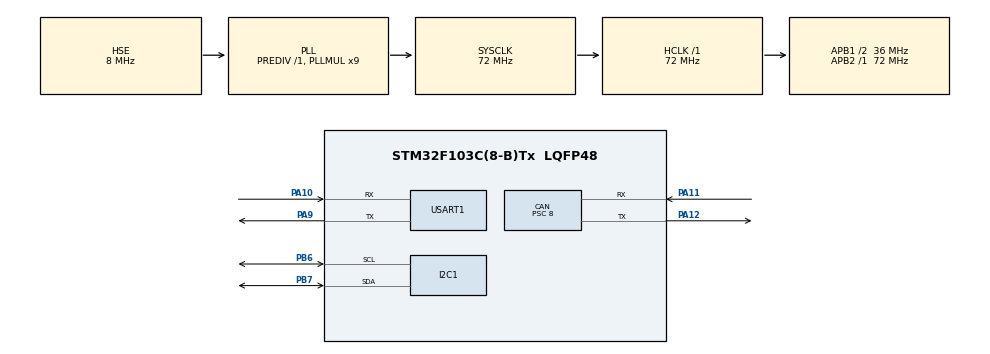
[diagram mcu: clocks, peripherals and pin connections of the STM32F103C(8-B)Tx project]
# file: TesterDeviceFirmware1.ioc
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CAN.BS1=CAN_BS1_15TQ
CAN.BS2=CAN_BS2_2TQ
CAN.CalculateBaudRate=250000
CAN.CalculateTimeBit=4000
CAN.CalculateTimeQuantum=222.22222222222223
CAN.Prescaler=8
Mcu.Family=STM32F1
Mcu.Name=STM32F103C(8-B)Tx
Mcu.Package=LQFP48
NVIC.PriorityGroup=NVIC_PRIORITYGROUP_4
NVIC.USB_HP_CAN1_TX_IRQn=true\:0\:0\:false\:false\:true\:true\:true\:true
NVIC.USB_LP_CAN1_RX0_IRQn=true\:0\:0\:false\:false\:true\:true\:true\:true
PA10.Mode=Asynchronous
PA10.Signal=USART1_RX
PA11.Mode=CAN_Activate
PA11.Signal=CAN_RX
PA12.Mode=CAN_Activate
PA12.Signal=CAN_TX
PA13.Mode=Serial_Wire
PA13.Signal=SYS_JTMS-SWDIO
PA14.Mode=Serial_Wire
PA14.Signal=SYS_JTCK-SWCLK
PA9.Mode=Asynchronous
PA9.Signal=USART1_TX
PB6.Mode=I2C
PB6.Signal=I2C1_SCL
PB7.Mode=I2C
PB7.Signal=I2C1_SDA
PD0-OSC_IN.Mode=HSE-External-Oscillator
PD0-OSC_IN.Signal=RCC_OSC_IN
PD1-OSC_OUT.Mode=HSE-External-Oscillator
PD1-OSC_OUT.Signal=RCC_OSC_OUT
ProjectManager.HeapSize=0x200
ProjectManager.StackSize=0x400
ProjectManager.TargetToolchain=STM32CubeIDE
RCC.AHBFreq_Value=72000000
RCC.APB1CLKDivider=RCC_HCLK_DIV2
RCC.APB1Freq_Value=36000000
RCC.APB1TimFreq_Value=72000000
RCC.APB2Freq_Value=72000000
RCC.APB2TimFreq_Value=72000000
RCC.HCLKFreq_Value=72000000
RCC.PLLMUL=RCC_PLL_MUL9
RCC.PLLSourceVirtual=RCC_PLLSOURCE_HSE
RCC.SYSCLKFreq_VALUE=72000000
RCC.SYSCLKSource=RCC_SYSCLKSOURCE_PLLCLK
RCC.USBFreq_Value=72000000
USART1.VirtualMode=VM_ASYNC
board=custom

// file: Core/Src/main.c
/* USER CODE BEGIN Header */
/**
  ******************************************************************************
  * @file           : main.c
  * @brief          : Main program body
  ******************************************************************************
  * @attention
  *
  * Copyright (c) 2023 STMicroelectronics.
  * All rights reserved.
  *
  * This software is licensed under terms that can be found in the LICENSE file
  * in the root directory of this software component.
  * If no LICENSE file comes with this software, it is provided AS-IS.
  *
  ******************************************************************************
  */
/* USER CODE END Header */
#include "main.h"

 CAN_HandleTypeDef hcan;

I2C_HandleTypeDef hi2c1;

UART_HandleTypeDef huart1;

/* USER CODE BEGIN PV */

	float data=0;  // ADC VARIABLES
	int  AdcValues[12]= {0};
	uint8_t receivedData;
	char buffer[5];
	int value;
	uint8_t bytesToSend[4]; // int, 4 byte'tır

	uint8_t req_counter = 0;  // CAN VARIABLES
	CAN_RxHeaderTypeDef RxHeader;
	int CANOK = 0;
	int counter = 0;

/* USER CODE END PV */

void SystemClock_Config(void);
static void MX_GPIO_Init(void);
static void MX_CAN_Init(void);
static void MX_I2C1_Init(void);
static void MX_USART1_UART_Init(void);
/* USER CODE BEGIN PFP */

void Read_ADS1115(int VoltageArray[], int length);
void CAN1_Tx();
void CAN1_Rx(void);
void CAN_Filter_Config(void);

/* USER CODE END PFP */

int main(void)
{

  /* MCU Configuration--------------------------------------------------------*/

  /* Reset of all peripherals, Initializes the Flash interface and the Systick. */
  HAL_Init();

  /* Configure the system clock */
  SystemClock_Config();

  /* Initialize all configured peripherals */
  MX_GPIO_Init();
  MX_CAN_Init();
  MX_I2C1_Init();
  MX_USART1_UART_Init();

  /* Infinite loop */
  while (1)
  {

    /* USER CODE BEGIN 3 */
	  HAL_UART_Receive(&huart1, &receivedData, 1, HAL_MAX_DELAY);

	     if (receivedData == 'A')
	     {
	     	Read_ADS1115(AdcValues,12);
	     	 for (int i = 0; i < 12; i++)
	     	    {
	     	        value = AdcValues[i];

	     	        // Int değeri byte dizisine dönüştür
	     	        bytesToSend[0] = (value >> 24) & 0xFF;
	     	        bytesToSend[1] = (value >> 16) & 0xFF;
	     	        bytesToSend[2] = (value >> 8) & 0xFF;
	     	        bytesToSend[3] = value & 0xFF;

	     	        // Byte dizisini UART üzerinden gönder
	     	        HAL_UART_Transmit(&huart1, bytesToSend, sizeof(bytesToSend), HAL_MAX_DELAY);
	     	    }
	     }
	     else  if (receivedData == 'C')
	     {
	    	 CAN_Filter_Config();

	    	   	if(HAL_CAN_ActivateNotification(&hcan,CAN_IT_TX_MAILBOX_EMPTY|CAN_IT_RX_FIFO0_MSG_PENDING|CAN_IT_BUSOFF)!= HAL_OK)
	    	   	{
	    	   			Error_Handler();
	    	   	}

	    	   	if( HAL_CAN_Start(&hcan) != HAL_OK)
	    	   	{
	    	   		Error_Handler();
	    	   	}

		 		HAL_UART_Transmit(&huart1, (uint8_t *)"CAN TEST OK\r\n", 13, HAL_MAX_DELAY);

	    	   	while(CANOK == 0 && counter<50)
	    	   	{
	    	   		CAN1_Tx();
	    	   		HAL_Delay(1000);
	    	   		counter++;
	    	   	}

	     }
	     else if(receivedData == 'B')
	     {
	 		HAL_UART_Transmit(&huart1, (uint8_t *)"CIHAZ BEKLEME MODUNDADIR\r\n", 26, HAL_MAX_DELAY);

	     }

	    }
  }
  /* USER CODE END 3 */

void SystemClock_Config(void)
{
  RCC_OscInitTypeDef RCC_OscInitStruct = {0};
  RCC_ClkInitTypeDef RCC_ClkInitStruct = {0};

  /** Initializes the RCC Oscillators according to the specified parameters
  * in the RCC_OscInitTypeDef structure.
  */
  RCC_OscInitStruct.OscillatorType = RCC_OSCILLATORTYPE_HSE;
  RCC_OscInitStruct.HSEState = RCC_HSE_ON;
  RCC_OscInitStruct.HSEPredivValue = RCC_HSE_PREDIV_DIV1;
  RCC_OscInitStruct.HSIState = RCC_HSI_ON;
  RCC_OscInitStruct.PLL.PLLState = RCC_PLL_ON;
  RCC_OscInitStruct.PLL.PLLSource = RCC_PLLSOURCE_HSE;
  RCC_OscInitStruct.PLL.PLLMUL = RCC_PLL_MUL9;
  if (HAL_RCC_OscConfig(&RCC_OscInitStruct) != HAL_OK)
  {
    Error_Handler();
  }

  /** Initializes the CPU, AHB and APB buses clocks
  */
  RCC_ClkInitStruct.ClockType = RCC_CLOCKTYPE_HCLK|RCC_CLOCKTYPE_SYSCLK
                              |RCC_CLOCKTYPE_PCLK1|RCC_CLOCKTYPE_PCLK2;
  RCC_ClkInitStruct.SYSCLKSource = RCC_SYSCLKSOURCE_PLLCLK;
  RCC_ClkInitStruct.AHBCLKDivider = RCC_SYSCLK_DIV1;
  RCC_ClkInitStruct.APB1CLKDivider = RCC_HCLK_DIV2;
  RCC_ClkInitStruct.APB2CLKDivider = RCC_HCLK_DIV1;

  if (HAL_RCC_ClockConfig(&RCC_ClkInitStruct, FLASH_LATENCY_2) != HAL_OK)
  {
    Error_Handler();
  }
}

static void MX_CAN_Init(void)
{

  hcan.Instance = CAN1;
  hcan.Init.Prescaler = 8;
  hcan.Init.Mode = CAN_MODE_NORMAL;
  hcan.Init.SyncJumpWidth = CAN_SJW_1TQ;
  hcan.Init.TimeSeg1 = CAN_BS1_15TQ;
  hcan.Init.TimeSeg2 = CAN_BS2_2TQ;
  hcan.Init.TimeTriggeredMode = DISABLE;
  hcan.Init.AutoBusOff = DISABLE;
  hcan.Init.AutoWakeUp = DISABLE;
  hcan.Init.AutoRetransmission = DISABLE;
  hcan.Init.ReceiveFifoLocked = DISABLE;
  hcan.Init.TransmitFifoPriority = DISABLE;
  if (HAL_CAN_Init(&hcan) != HAL_OK)
  {
    Error_Handler();
  }

}

static void MX_I2C1_Init(void)
{

  hi2c1.Instance = I2C1;
  hi2c1.Init.ClockSpeed = 100000;
  hi2c1.Init.DutyCycle = I2C_DUTYCYCLE_2;
  hi2c1.Init.OwnAddress1 = 0;
  hi2c1.Init.AddressingMode = I2C_ADDRESSINGMODE_7BIT;
  hi2c1.Init.DualAddressMode = I2C_DUALADDRESS_DISABLE;
  hi2c1.Init.OwnAddress2 = 0;
  hi2c1.Init.GeneralCallMode = I2C_GENERALCALL_DISABLE;
  hi2c1.Init.NoStretchMode = I2C_NOSTRETCH_DISABLE;
  if (HAL_I2C_Init(&hi2c1) != HAL_OK)
  {
    Error_Handler();
  }

}

static void MX_USART1_UART_Init(void)
{

  huart1.Instance = USART1;
  huart1.Init.BaudRate = 9600;
  huart1.Init.WordLength = UART_WORDLENGTH_8B;
  huart1.Init.StopBits = UART_STOPBITS_1;
  huart1.Init.Parity = UART_PARITY_NONE;
  huart1.Init.Mode = UART_MODE_TX_RX;
  huart1.Init.HwFlowCtl = UART_HWCONTROL_NONE;
  huart1.Init.OverSampling = UART_OVERSAMPLING_16;
  if (HAL_UART_Init(&huart1) != HAL_OK)
  {
    Error_Handler();
  }

}

static void MX_GPIO_Init(void)
{

  /* GPIO Ports Clock Enable */
  __HAL_RCC_GPIOD_CLK_ENABLE();
  __HAL_RCC_GPIOA_CLK_ENABLE();
  __HAL_RCC_GPIOB_CLK_ENABLE();

}

/* USER CODE BEGIN 4 */

void  Read_ADS1115(int VoltageArray[], int length)
{
	float voltage;
	int lastintValue;

    // channel 1 read
	unsigned char i2c_address= 0x90;
	buffer[0]=0x01; // address pointer register: 01 -> config register
	buffer[1]=0xC2;
	buffer[2]=0x85;

	HAL_I2C_Master_Transmit(&hi2c1,i2c_address+0,(uint8_t*)buffer,3,100);
	buffer[0]=0x00;
	HAL_Delay(10);
	HAL_I2C_Master_Transmit(&hi2c1,i2c_address+0,(uint8_t*)buffer,1,100);
	HAL_Delay(10);
	HAL_I2C_Master_Receive(&hi2c1,i2c_address+1, buffer,2,100);
	data = (buffer[0]<<8) + buffer[1];
	if(data==0xFFFF) {data=0;}
	voltage = data*0.000125;
	lastintValue = 1000*voltage;
	VoltageArray[0] = lastintValue;
	int size = sizeof(voltage);
	lastintValue = 0;
	HAL_Delay(20);

	 // channel 2 read

	i2c_address= 0x90;
	buffer[0]=0x01; // address pointer register: 01 -> config register
	buffer[1]=0xD2;
		buffer[2]=0x85;

	HAL_I2C_Master_Transmit(&hi2c1,i2c_address+0,(uint8_t*)buffer,3,100);
	buffer[0]=0x00;
	HAL_Delay(10);
	HAL_I2C_Master_Transmit(&hi2c1,i2c_address+0,(uint8_t*)buffer,1,100);
	HAL_Delay(10);
	HAL_I2C_Master_Receive(&hi2c1,i2c_address+1, buffer,2,100);
	data = (buffer[0]<<8) + buffer[1];
	if(data==0xFFFF) {data=0;}
	voltage = data*0.000125;
	lastintValue = 1000*voltage;
		VoltageArray[1] = lastintValue;
		lastintValue = 0;
		HAL_Delay(20);

		 // channel 3 read
	i2c_address= 0x90;
	buffer[0]=0x01; // address pointer register: 01 -> config register
	buffer[1]=0xE2;
	buffer[2]=0x85;

	HAL_I2C_Master_Transmit(&hi2c1,i2c_address+0,(uint8_t*)buffer,3,100);
	buffer[0]=0x00;
	HAL_Delay(10);
	HAL_I2C_Master_Transmit(&hi2c1,i2c_address+0,(uint8_t*)buffer,1,100);
	HAL_Delay(10);
	HAL_I2C_Master_Receive(&hi2c1,i2c_address+1, buffer,2,100);
	data = (buffer[0]<<8) + buffer[1];
	if(data==0xFFFF) {data=0;}
	voltage = data*0.000125;
	lastintValue = 1000*voltage;
		VoltageArray[2] = lastintValue;
		lastintValue = 0;
		HAL_Delay(20);

		 // channel 4 read
	i2c_address= 0x90;
	buffer[0]=0x01; // address pointer register: 01 -> config register
	buffer[1]=0xF2;
	buffer[2]=0x85;

	HAL_I2C_Master_Transmit(&hi2c1,i2c_address+0,(uint8_t*)buffer,3,100);
	buffer[0]=0x00;
	HAL_Delay(10);
	HAL_I2C_Master_Transmit(&hi2c1,i2c_address+0,(uint8_t*)buffer,1,100);
	HAL_Delay(10);
	HAL_I2C_Master_Receive(&hi2c1,i2c_address+1, buffer,2,100);
	data = (buffer[0]<<8) + buffer[1];
	if(data==0xFFFF) {data=0;}
	voltage = data*0.000125;
	lastintValue = 1000*voltage;
		VoltageArray[3] = lastintValue;
		lastintValue = 0;
		HAL_Delay(10);

		 // channel 5 read
	i2c_address= 0x92;
	buffer[0]=0x01; // address pointer register: 01 -> config register
	buffer[1]=0xC2;
	buffer[2]=0x85;

	HAL_I2C_Master_Transmit(&hi2c1,i2c_address+0,(uint8_t*)buffer,3,100);
	buffer[0]=0x00;
	HAL_Delay(10);
	HAL_I2C_Master_Transmit(&hi2c1,i2c_address+0,(uint8_t*)buffer,1,100);
	HAL_Delay(10);
	HAL_I2C_Master_Receive(&hi2c1,i2c_address+1, buffer,2,100);
	data = (buffer[0]<<8) + buffer[1];
	if(data==0xFFFF) {data=0;}
	voltage = data*0.000125;
	lastintValue = 1000*voltage;
		VoltageArray[4] = lastintValue;
		lastintValue = 0;
		HAL_Delay(20);

	 // channel 6 read
	i2c_address= 0x92;
	buffer[0]=0x01; // address pointer register: 01 -> config register
	buffer[1]=0xD2;
	buffer[2]=0x85;

	HAL_I2C_Master_Transmit(&hi2c1,i2c_address+0,(uint8_t*)buffer,3,100);
	buffer[0]=0x00;
	HAL_Delay(10);
	HAL_I2C_Master_Transmit(&hi2c1,i2c_address+0,(uint8_t*)buffer,1,100);
	HAL_Delay(10);
	HAL_I2C_Master_Receive(&hi2c1,i2c_address+1, buffer,2,100);
	data = (buffer[0]<<8) + buffer[1];
	if(data==0xFFFF) {data=0;}
	voltage = data*0.000125;
	lastintValue = 1000*voltage;
		VoltageArray[5] = lastintValue;
		lastintValue = 0;
		HAL_Delay(20);

	 // channel 7 read
	i2c_address= 0x92;
	buffer[0]=0x01; // address pointer register: 01 -> config register
	buffer[1]=0xE2;
	buffer[2]=0x85;

	HAL_I2C_Master_Transmit(&hi2c1,i2c_address+0,(uint8_t*)buffer,3,100);
	buffer[0]=0x00;
	HAL_Delay(10);
	HAL_I2C_Master_Transmit(&hi2c1,i2c_address+0,(uint8_t*)buffer,1,100);
	HAL_Delay(10);
	HAL_I2C_Master_Receive(&hi2c1,i2c_address+1, buffer,2,100);
	data = (buffer[0]<<8) + buffer[1];
	if(data==0xFFFF) {data=0;}
	voltage = data*0.000125;
	lastintValue = 1000*voltage;
		VoltageArray[6] = lastintValue;
		lastintValue = 0;
		HAL_Delay(20);

	 // channel 8 read
	 i2c_address= 0x92;
	buffer[0]=0x01; // address pointer register: 01 -> config register
	buffer[1]=0xF2;
	buffer[2]=0x85;

	HAL_I2C_Master_Transmit(&hi2c1,i2c_address+0,(uint8_t*)buffer,3,100);
	buffer[0]=0x00;
	HAL_Delay(10);
	HAL_I2C_Master_Transmit(&hi2c1,i2c_address+0,(uint8_t*)buffer,1,100);
	HAL_Delay(10);
	HAL_I2C_Master_Receive(&hi2c1,i2c_address+1, buffer,2,100);
	data = (buffer[0]<<8) + buffer[1];
	if(data==0xFFFF) {data=0;}
	voltage = data*0.000125;
	lastintValue = 1000*voltage;
		VoltageArray[7] = lastintValue;
		lastintValue = 0;
		HAL_Delay(20);

	// channel 9 read
	i2c_address= 0x96;
	buffer[0]=0x01; // address pointer register: 01 -> config register
	buffer[1]=0xC2;
	buffer[2]=0x85;

	HAL_I2C_Master_Transmit(&hi2c1,i2c_address+0,(uint8_t*)buffer,3,100);
	buffer[0]=0x00;
	HAL_Delay(10);
	HAL_I2C_Master_Transmit(&hi2c1,i2c_address+0,(uint8_t*)buffer,1,100);
	HAL_Delay(10);
	HAL_I2C_Master_Receive(&hi2c1,i2c_address+1, buffer,2,100);
	data = (buffer[0]<<8) + buffer[1];
	if(data==0xFFFF) {data=0;}
	voltage = data*0.000125;
	lastintValue = 1000*voltage;
		VoltageArray[8] = lastintValue;
		lastintValue = 0;
		HAL_Delay(20);

	// channel 10 read
	 i2c_address= 0x96;
	buffer[0]=0x01; // address pointer register: 01 -> config register
	buffer[1]=0xD2;
	buffer[2]=0x85;

	HAL_I2C_Master_Transmit(&hi2c1,i2c_address+0,(uint8_t*)buffer,3,100);
	buffer[0]=0x00;
	HAL_Delay(10);
	HAL_I2C_Master_Transmit(&hi2c1,i2c_address+0,(uint8_t*)buffer,1,100);
	HAL_Delay(10);
	HAL_I2C_Master_Receive(&hi2c1,i2c_address+1, buffer,2,100);
	data = (buffer[0]<<8) + buffer[1];
	if(data==0xFFFF) {data=0;}
	voltage = data*0.000125;
	lastintValue = 1000*voltage;
		VoltageArray[9] = lastintValue;
		lastintValue = 0;
		HAL_Delay(20);

		// channel 11 read
	i2c_address= 0x96;
	buffer[0]=0x01; // address pointer register: 01 -> config register
	buffer[1]=0xE2;
	buffer[2]=0x85;

	HAL_I2C_Master_Transmit(&hi2c1,i2c_address+0,(uint8_t*)buffer,3,100);
	buffer[0]=0x00;
	HAL_Delay(10);
	HAL_I2C_Master_Transmit(&hi2c1,i2c_address+0,(uint8_t*)buffer,1,100);
	HAL_Delay(10);
	HAL_I2C_Master_Receive(&hi2c1,i2c_address+1, buffer,2,100);
	data = (buffer[0]<<8) + buffer[1];
	if(data==0xFFFF) {data=0;}
	voltage = data*0.000125;
	lastintValue = 1000*voltage;
		VoltageArray[10] = lastintValue;
		lastintValue = 0;
		HAL_Delay(20);

	// channel 12 read
	i2c_address= 0x96;
	buffer[0]=0x01; // address pointer register: 01 -> config register
	buffer[1]=0xF2;
	buffer[2]=0x85;

	HAL_I2C_Master_Transmit(&hi2c1,i2c_address+0,(uint8_t*)buffer,3,100);
	buffer[0]=0x00;
	HAL_Delay(10);
	HAL_I2C_Master_Transmit(&hi2c1,i2c_address+0,(uint8_t*)buffer,1,100);
	HAL_Delay(10);
	HAL_I2C_Master_Receive(&hi2c1,i2c_address+1, buffer,2,100);
	data = (buffer[0]<<8) + buffer[1];
	if(data==0xFFFF) {data=0;}
	voltage = data*0.000125;
	lastintValue = 1000*voltage;
		VoltageArray[11] = lastintValue;
		lastintValue = 0;
		HAL_Delay(20);

	return 0;

}

uint8_t led_no=0;

void CAN1_Tx(void)
{
	CAN_TxHeaderTypeDef TxHeader;

	uint32_t TxMailbox;

	uint8_t ourMessage[5] = {'H','E','L','L','O'};
	TxHeader.DLC = 5;
	TxHeader.StdId = 0x65D;
	TxHeader.IDE = CAN_ID_STD;
	TxHeader.RTR = CAN_RTR_DATA;

	if(HAL_CAN_AddTxMessage(&hcan,&TxHeader,ourMessage,&TxMailbox) != HAL_OK)
	{
		Error_Handler();
	}

}

void CAN_Filter_Config(void)
{
	CAN_FilterTypeDef can1_filter_init;

	can1_filter_init.FilterActivation = ENABLE;
	can1_filter_init.FilterBank  = 0;
	can1_filter_init.FilterFIFOAssignment = CAN_RX_FIFO0;
	can1_filter_init.FilterIdHigh = 0x0000;
	can1_filter_init.FilterIdLow = 0x0000;
	can1_filter_init.FilterMaskIdHigh = 0X01C0;
	can1_filter_init.FilterMaskIdLow = 0x0000;
	can1_filter_init.FilterMode = CAN_FILTERMODE_IDMASK;
	can1_filter_init.FilterScale = CAN_FILTERSCALE_32BIT;

	if( HAL_CAN_ConfigFilter(&hcan,&can1_filter_init) != HAL_OK)
	{
		Error_Handler();
	}

}

void CAN1_Rx()

{
	CAN_RxHeaderTypeDef RxHeader;

	uint8_t rcvdMsg[5];

	char msg[50];

	if(HAL_CAN_GetRxMessage(&hcan, CAN_RX_FIFO0, &RxHeader, rcvdMsg) != HAL_OK )
	{
		Error_Handler();
	}

    sprintf(msg,"Message Received: %s\r\n",rcvdMsg);

}

void HAL_CAN_RxFifo0MsgPendingCallback(CAN_HandleTypeDef *hcan)
{
	uint8_t rcvd_msg[8];

	char msg[50];

	if(HAL_CAN_GetRxMessage(hcan,CAN_RX_FIFO0,&RxHeader,rcvd_msg) != HAL_OK)
	{
		Error_Handler();
	}

	if(RxHeader.StdId == 0x65D && RxHeader.RTR == 0 )
	{
		//This is data frame sent by n1 to n2
		HAL_UART_Transmit(&huart1, (uint8_t *)"CAN TEST OK\r\n", 13, HAL_MAX_DELAY);
		CANOK = 1;
	}
	else if ( RxHeader.StdId == 0x651 && RxHeader.RTR == 1)
	{
		//This is a remote frame sent by n1 to n2
		Send_response(RxHeader.StdId);
		return;
	}
	else if ( RxHeader.StdId == 0x651 && RxHeader.RTR == 0)
	{
		//its a reply ( data frame) by n2 to n1
	    HAL_UART_Transmit(&huart1, (uint8_t *)"CAN TEST OK\r\n", 13, HAL_MAX_DELAY);
	    CANOK = 1;
	}

	 HAL_UART_Transmit(&huart1,(uint8_t*)msg,strlen(msg),HAL_MAX_DELAY);

}

void Send_response(uint32_t StdId)
 {

 	CAN_TxHeaderTypeDef TxHeader;

 	uint32_t TxMailbox;

 	uint8_t response[2] = { 0xAB,0XCD};

 	TxHeader.DLC = 2;
 	TxHeader.StdId = StdId;
 	TxHeader.IDE   = CAN_ID_STD;
 	TxHeader.RTR = CAN_RTR_DATA;

 	if( HAL_CAN_AddTxMessage(&hcan,&TxHeader,response,&TxMailbox) != HAL_OK)
 	{
 		Error_Handler();
 	}

 }

/* USER CODE END 4 */

void Error_Handler(void)
{
  __disable_irq();
  while (1)
  {
  }
}
